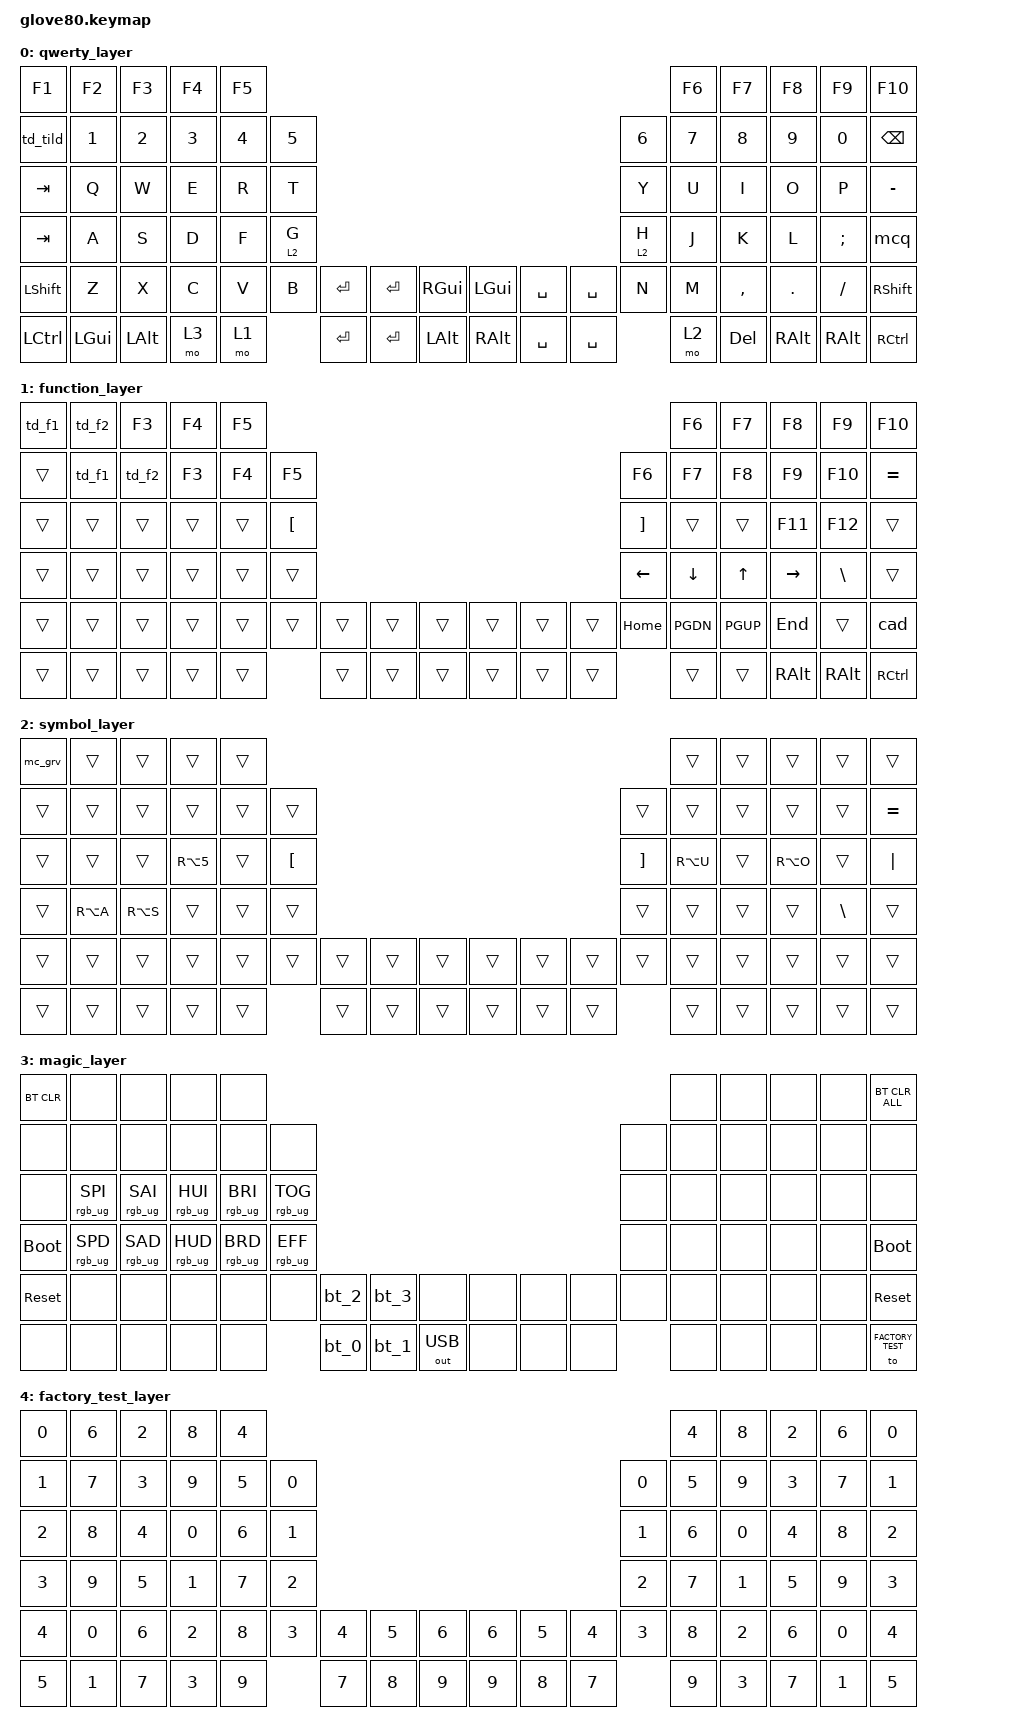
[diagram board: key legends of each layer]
/*
 * Copyright (c) 2020 The ZMK Contributors
 *
 * SPDX-License-Identifier: MIT
 */

#include <behaviors.dtsi>
#include <dt-bindings/zmk/keys.h>
#include <dt-bindings/zmk/bt.h>
#include <dt-bindings/zmk/ext_power.h>
#include <dt-bindings/zmk/outputs.h>
#include <dt-bindings/zmk/rgb.h>

#define HYPER LC(LS(LG(LALT)))

// layers
#define QWERTY 0
#define FUNC 1
#define SYMB 2
#define MAGIC 3
#define FACTORY_TEST 4

/ {
    behaviors {
        td_f1: tap_dance_f1_f11 {
            compatible = "zmk,behavior-tap-dance";
            #binding-cells = <0>;
            tapping-term-ms = <200>;
            bindings = <&kp F1>, <&kp F11>;
        };

        td_f2: tap_dance_f2_f12 {
            compatible = "zmk,behavior-tap-dance";
            #binding-cells = <0>;
            tapping-term-ms = <200>;
            bindings = <&kp F2>, <&kp F12>;
        };

        td_tild: tap_dance_esc_tld {
            compatible = "zmk,behavior-tap-dance";
            #binding-cells = <0>;
            tapping-term-ms = <200>;
            bindings = <&kp ESC>, <&mc_tld>;
        };

       magic: magic_hold_tap {
            compatible = "zmk,behavior-hold-tap";
            #label = "MAGIC_HOLD_TAP";
            #binding-cells = <2>;
            flavor = "tap-preferred";
            tapping-term-ms = <200>;
            bindings = <&mo>, <&rgb_ug_status_macro>;
        };
    };

    macros {
        rgb_ug_status_macro: rgb_ug_status_macro_0 {
            #label = "RGB_UG_STATUS";
            compatible = "zmk,behavior-macro";
            #binding-cells = <0>;
            bindings
                = <&rgb_ug RGB_STATUS>;
        };

        bt_0: bt_profile_macro_0 {
            #label = "BT_0";
            compatible = "zmk,behavior-macro";
            #binding-cells = <0>;
            bindings
                = <&out OUT_BLE>,
                  <&bt BT_SEL 0>;
        };

        bt_1: bt_profile_macro_1 {
            #label = "BT_1";
            compatible = "zmk,behavior-macro";
            #binding-cells = <0>;
            bindings
                = <&out OUT_BLE>,
                  <&bt BT_SEL 1>;
        };

        bt_2: bt_profile_macro_2 {
            #label = "BT_2";
            compatible = "zmk,behavior-macro";
            #binding-cells = <0>;
            bindings
                = <&out OUT_BLE>,
                  <&bt BT_SEL 2>;
        };

        bt_3: bt_profile_macro_3 {
            #label = "BT_3";
            compatible = "zmk,behavior-macro";
            #binding-cells = <0>;
            bindings
                = <&out OUT_BLE>,
                  <&bt BT_SEL 3>;
        };

        cad: ctrl_alt_del {
            #label = "CTRL-ALT-DEL or RESET";
            compatible = "zmk,behavior-macro";
            #binding-cells = <0>;
            bindings
                = <&macro_press &kp LCTRL &kp LALT>
                , <&macro_tap &kp DEL>
                , <&macro_release  &kp LCTRL &kp LALT>
                ;
        };

        mcq: macro_quotation_mark {
            #label = "Single Quote"; // avoid deadkey on us intl layout
            compatible = "zmk,behavior-macro";
            #binding-cells = <0>;
            bindings
                = <&macro_tap &kp SINGLE_QUOTE &kp SPACE>
                ;
        };

        mc_tld: macro_tilde {
            #label = "Tilde"; // avoid deadkey on us intl layout
            compatible = "zmk,behavior-macro";
            #binding-cells = <0>;
            bindings
                = <&macro_press &kp LEFT_SHIFT>
                ,  <&macro_tap &kp GRAVE>
                ,  <&macro_tap &kp SPACE>
                ,  <&macro_release &kp LEFT_SHIFT>
                ;
        };

       mc_grv: macro_grave {
            #label = "Grave"; // avoid deadkey on us intl layout
            compatible = "zmk,behavior-macro";
            #binding-cells = <0>;
            bindings
                =  <&macro_tap &kp GRAVE>
                ,  <&macro_tap &kp SPACE>
                ;
       };
    };

    keymap {
        compatible = "zmk,keymap";

        qwerty_layer {
            // ---------------------------------------------------------------------------------------------------------------------------------
            // |    F1 |  F2 |  F3 |  F4  |  F5  |                                                               |  F6   |  F7   |  F8   |  F9  |   F10 | 
            // |  =    |  1  |  2  |  3   |  4   |  5   |                                                 |  6   |   7   |   8   |  9   |   0   |  BSPC |
            // |  TAB  |  Q  |  W  |  E   |  R   |  T   |                                                 |  Y   |   U   |   I   |  O   |   P   |   -   |
            // |  TAB  |  A  |  S  |  D   |  F   |G SYMB|                                                 |H SYMB|   J   |   K   |  L   |   ;   |   '   |
            // | LSHFT |  Z  |  X  |  C   |  V   |  B   | RET   | RET   | RGUI  | | LGUI  | SPACE | SPACE |  N   |   M   |   ,   |  .   |   /   | RSHFT |
            // | LCTRL |LCTRL| END | MO(3)| MO(1)|      | RET   | RET   | LALT  | | RALT  | SPACE | SPACE |      | MO(2) | DEL   | RALT |  RALT | RCTRL |

            bindings = <
            &kp F1     &kp F2    &kp F3    &kp F4  &kp F5                                                                                &kp F6  &kp F7     &kp F8    &kp F9    &kp F10
            &td_tild   &kp N1    &kp N2    &kp N3  &kp N4  &kp N5                                                                &kp N6  &kp N7  &kp N8     &kp N9    &kp N0    &kp BSPC
            &kp TAB    &kp Q     &kp W     &kp E   &kp R   &kp T                                                                 &kp Y   &kp U   &kp I      &kp O     &kp P     &kp MINUS
            &kp TAB    &kp A     &kp S     &kp D   &kp F   &lt 2 G                                                               &lt 2 H &kp J   &kp K      &kp L     &kp SEMI  &mcq
            &kp LSHFT  &kp Z     &kp X     &kp C   &kp V   &kp B   &kp RET  &kp RET   &kp RGUI   &kp LGUI  &kp SPACE &kp SPACE   &kp N   &kp M   &kp COMMA  &kp DOT   &kp FSLH  &kp RSHFT
            &kp LCTRL  &kp LGUI  &kp LALT  &mo 3   &mo 1           &kp RET  &kp RET   &kp LALT   &kp RALT  &kp SPACE &kp SPACE           &mo 2   &kp DEL    &kp RALT  &kp RALT  &kp RCTRL
            >;
        };

        function_layer {
            // ---------------------------------------------------------------------------------------------------------------------------------
            // |  F1   |   F2  |  F3   |  F4   |  F5   |                                                                |  F6   |  F7   |  F8   |  F9   |  F10  |
            // | ----- |F1/F11 |F2/F12 |  F3   |  F4   |  F5   |                                                 |  F6  |  F7   |  F8   |  F9   |   F10 |   =   |
            // | ----- | ----- | ----- | ----- | ----- |   [   |                                                 |  ]   | ----- | ----- |  F11  |   F12 | ----- |
            // | ----- | ----- | ----- | ----- | ----- | ----- |                                                 | LEFT | DOWN  |  UP   | RIGHT |   \   | ----- |
            // | ----- | ----- | ----- | ----- | ----- | ----- | ----- | ----- | ----- | | ----- | ----- | ----- | HOME | PGDWN |  PGUP | END   | ----- |  CAD  |
            // | ----- | ----- | ----- | ----- | ----- |       | ----- | ----- | ----- | | ----- | ----- | ----- |      | ----- | ----- | ----- | ----- | ----- |

            bindings = <
            &td_f1  &td_f2  &kp F3  &kp F4  &kp F5                                                                     &kp F6    &kp F7    &kp F8     &kp F9    &kp F10
            &trans  &td_f1  &td_f2  &kp F3  &kp F4  &kp F5                                                   &kp F6    &kp F7    &kp F8    &kp F9     &kp F10   &kp EQUAL
            &trans  &trans  &trans  &trans  &trans  &kp LBKT                                                 &kp RBKT  &trans    &trans    &kp F11    &kp F12   &trans
            &trans  &trans  &trans  &trans  &trans  &trans                                                   &kp LEFT  &kp DOWN  &kp UP    &kp RIGHT  &kp BSLH  &trans
            &trans  &trans  &trans  &trans  &trans  &trans  &trans   &trans  &trans  &trans  &trans  &trans  &kp HOME  &kp PGDN  &kp PGUP  &kp END    &trans    &cad
            &trans  &trans  &trans  &trans  &trans          &trans   &trans  &trans  &trans  &trans  &trans            &trans    &trans    &kp RALT   &kp RALT  &kp RCTRL
            >;
        };

        symbol_layer {
            // ---------------------------------------------------------------------------------------------------------------------------------
            // |   `   | ----- | ----- | ----- | ----- |                                                                 | ----- | ----- | ----- | ----- | ----- |
            // | ----- | ----- | ----- | ----- | ----- | ----- |                                                 | ----- | ----- | ----- | ----- | ----- |   =   |
            // | ----- | ----- | ----- |   €   | ----- |   [   |                                                 |   ]   |   Ü   | ----- |   Ö   | ----- |   |   |
            // | ----- |   Ä   |   ß   | ----- | ----- | ----- |                                                 | ----- | ----- | ----- | ----- |   \   | ----- |
            // | ----- | ----- | ----- | ----- | ----- | ----- | ----- | ----- | ----- | | ----- | ----- | ----- | ----- | ----- | ----- | ----- | ----- | ----- |
            // | ----- | ----- | ----- | ----- | ----- |       | ----- | ----- | ----- | | ----- | ----- | ----- |       | ----- | ----- | ----- | ----- | ----- |

            bindings = <
            &mc_grv &trans    &trans    &trans    &trans                                                                     &trans    &trans      &trans    &trans    &trans
            &trans  &trans    &trans    &trans    &trans  &trans                                                   &trans    &trans    &trans      &trans    &trans    &kp EQUAL
            &trans  &trans    &trans    &kp RA(5) &trans  &kp LBKT                                                 &kp RBKT  &kp RA(U) &trans      &kp RA(O) &trans    &kp PIPE
            &trans  &kp RA(A) &kp RA(S) &trans    &trans  &trans                                                   &trans    &trans    &trans      &trans    &kp BSLH  &trans
            &trans  &trans    &trans    &trans    &trans  &trans  &trans   &trans  &trans  &trans  &trans  &trans  &trans    &trans    &trans      &trans    &trans    &trans
            &trans  &trans    &trans    &trans    &trans          &trans   &trans  &trans  &trans  &trans  &trans            &trans    &trans      &trans    &trans    &trans
            >;
        };

        magic_layer {
            bindings = <
            &bt BT_CLR        &none               &none           &none           &none                                                                                                           &none      &none      &none      &none      &bt BT_CLR_ALL
            &none             &none               &none           &none           &none           &none                                                                                &none      &none      &none      &none      &none      &none
            &none             &rgb_ug RGB_SPI     &rgb_ug RGB_SAI &rgb_ug RGB_HUI &rgb_ug RGB_BRI &rgb_ug RGB_TOG                                                                      &none      &none      &none      &none      &none      &none
            &bootloader       &rgb_ug RGB_SPD     &rgb_ug RGB_SAD &rgb_ug RGB_HUD &rgb_ug RGB_BRD &rgb_ug RGB_EFF                                                                      &none      &none      &none      &none      &none      &bootloader
            &sys_reset        &none               &none           &none           &none           &none           &bt_2     &bt_3     &none            &none     &none     &none       &none      &none      &none      &none      &none      &sys_reset
            &none             &none               &none           &none           &none                           &bt_0     &bt_1     &out OUT_USB     &none     &none     &none                  &none      &none      &none      &none      &to FACTORY_TEST
            >;
        };

        factory_test_layer {
            bindings = <
            &kp N0   &kp N6   &kp N2   &kp N8   &kp N4                                                                              &kp N4   &kp N8   &kp N2   &kp N6   &kp N0
            &kp N1   &kp N7   &kp N3   &kp N9   &kp N5   &kp N0                                                            &kp N0   &kp N5   &kp N9   &kp N3   &kp N7   &kp N1
            &kp N2   &kp N8   &kp N4   &kp N0   &kp N6   &kp N1                                                            &kp N1   &kp N6   &kp N0   &kp N4   &kp N8   &kp N2
            &kp N3   &kp N9   &kp N5   &kp N1   &kp N7   &kp N2                                                            &kp N2   &kp N7   &kp N1   &kp N5   &kp N9   &kp N3
            &kp N4   &kp N0   &kp N6   &kp N2   &kp N8   &kp N3   &kp N4   &kp N5   &kp N6      &kp N6   &kp N5   &kp N4   &kp N3   &kp N8   &kp N2   &kp N6   &kp N0   &kp N4
            &kp N5   &kp N1   &kp N7   &kp N3   &kp N9            &kp N7   &kp N8   &kp N9      &kp N9   &kp N8   &kp N7            &kp N9   &kp N3   &kp N7   &kp N1   &kp N5
            >;
        };
    };
};


// TEMPLATE 
            // ---------------------------------------------------------------------------------------------------------------------------------
            // | ----- | ----- | ----- | ----- | ----- | ----- |                                                 | ----- | ----- | ----- | ----- | ----- | ----- |
            // | ----- | ----- | ----- | ----- | ----- | ----- |                                                 | ----- | ----- | ----- | ----- | ----- | ----- |
            // | ----- | ----- | ----- | ----- | ----- | ----- |                                                 | ----- | ----- | ----- | ----- | ----- | ----- |
            // | ----- | ----- | ----- | ----- | ----- | ----- |                                                 | ----- | ----- | ----- | ----- | ----- | ----- |
            // | ----- | ----- | ----- | ----- | ----- | ----- | ----- | ----- | ----- | | ----- | ----- | ----- | ----- | ----- | ----- | ----- | ----- | ----- |
            // | ----- | ----- | ----- | ----- | ----- |       | ----- | ----- | ----- | | ----- | ----- | ----- |       | ----- | ----- | ----- | ----- | ----- |

//            bindings = <
//            &trans  &trans  &trans  &trans  &trans  &trans                                                   &trans    &trans    &trans      &trans      &trans      &trans
//            &trans  &trans  &trans  &trans  &trans  &trans                                                   &trans    &trans    &trans      &trans      &trans      &trans
//            &trans  &trans  &trans  &trans  &trans  &trans                                                   &trans    &trans    &trans      &trans      &trans      &trans
//            &trans  &trans  &trans  &trans  &trans  &trans                                                   &trans    &trans    &trans      &trans      &trans      &trans
//            &trans  &trans  &trans  &trans  &trans  &trans  &trans   &trans  &trans  &trans  &trans  &trans  &trans    &trans    &trans      &trans      &trans      &trans
//            &trans  &trans  &trans  &trans  &trans          &trans   &trans  &trans  &trans  &trans  &trans            &trans    &trans      &trans      &trans      &trans
//            >;
